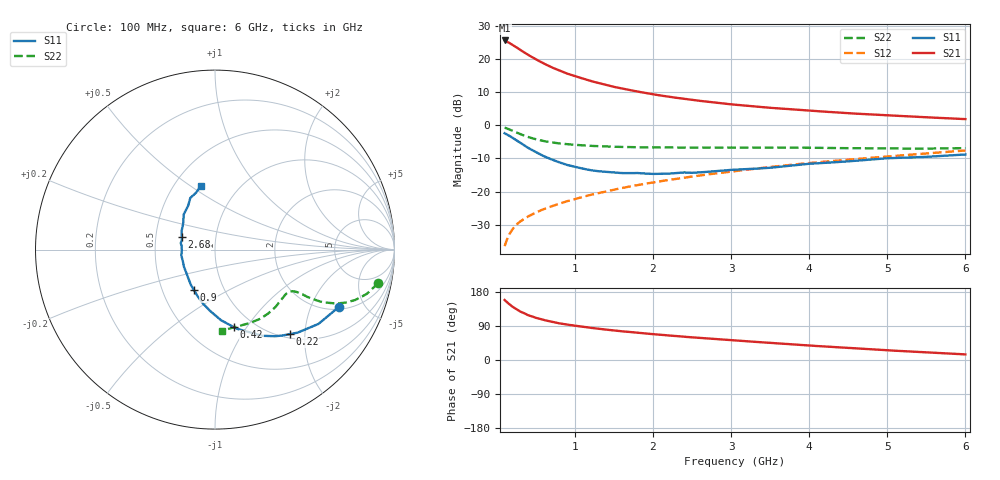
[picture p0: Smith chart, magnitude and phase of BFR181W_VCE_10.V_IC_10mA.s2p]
! Infineon Technologies  Discrete & RF Semiconductors
! BFR181W
! VCE =  10. V,  IC =  10 mA
! Common Emitter S-Parameters:  Nov 2015
# GHz  S  MA  R  50
!  f  S11  S21  S12  S22
! GHz  MAG  ANG  MAG  ANG  MAG  ANG  MAG  ANG
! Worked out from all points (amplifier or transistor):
!   192 points, 100 MHz to 6 GHz, reference 50 ohm
!   highest |S21| = 25.7 dB at 100 MHz (marker M1)
!   |S21| within 3 dB of that: start of sweep to 309.9 MHz
!   unconditionally stable (mu >= 1): 1.191 GHz to 3.096 GHz
!   at 440 MHz: K = 0.66, MSG = 23.9 dB, |S12| = -27.1 dB
!   at 1.7 GHz: K = 1.04, MAG = 13.4 dB, |S12| = -18.5 dB
!   at 6 GHz: K = 0.81, MSG = 4.7 dB, |S12| = -7.6 dB
!   S11 on the Smith chart (normalised r, x): 100 MHz: 2.15, -3.25; 220 MHz: 1.08, -1.68; 420 MHz: 0.81, -0.88; 900 MHz: 0.72, -0.34; 2.68 GHz: 0.68, +0.10; 6 GHz: 0.67, +0.55
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0.1  0.7619 -24.6  19.3 158.4  0.0149 76.6  0.9283 -11.6
0.15  0.7096 -35.7  18.04 148.9  0.0214 72.2  0.8819 -16.2
0.2  0.6523 -45.2  16.64 140.8  0.0267 69.3  0.8314 -19.7
0.22  0.6286 -48.5  16.05 138.2  0.0286 68.2  0.8111 -20.7
0.26  0.5869 -55.3  14.96 132.8  0.0322 66.3  0.7726 -22.6
0.3  0.5486 -61.1  13.9 127.9  0.0352 65.0  0.7384 -24.0
0.4  0.4586 -74.4  11.7 118.3  0.0418 63.5  0.6672 -26.0
0.42  0.4449 -76.3  11.34 117.1  0.0431 63.4  0.6571 -26.2
0.5  0.3955 -85.0  9.981 111.3  0.0481 63.2  0.6166 -26.8
0.6  0.3437 -94.4  8.654 105.6  0.0541 63.6  0.58 -27.1
0.7  0.3066 -102.9  7.59 100.8  0.0597 64.1  0.5541 -27.1
0.8  0.2764 -110.7  6.781 96.8  0.0651 64.8  0.5343 -27.3
0.9  0.2526 -117.9  6.088 93.5  0.0713 65.4  0.5201 -27.3
1.1  0.2224 -130.7  5.125 87.8  0.0829 66.3  0.4997 -27.8
1.2  0.2103 -137.2  4.701 84.9  0.0888 66.6  0.4908 -28.2
1.5  0.1944 -155.1  3.834 77.9  0.1064 67.3  0.4755 -29.7
2.08  0.185 178.3  2.857 66.9  0.1421 67.6  0.464 -34.0
2.68  0.198 159.3  2.299 57.2  0.18 66.6  0.4629 -39.9
3.1  0.2153 148.9  2.035 50.8  0.2075 65.6  0.4639 -44.8
4.1  0.2669 129.3  1.645 36.9  0.2764 61.4  0.4585 -58.2
5.1  0.3216 114.1  1.405 24.5  0.3462 56.6  0.4464 -72.7
6  0.3634 102.8  1.246 14.8  0.4178 52.0  0.4537 -85.3
